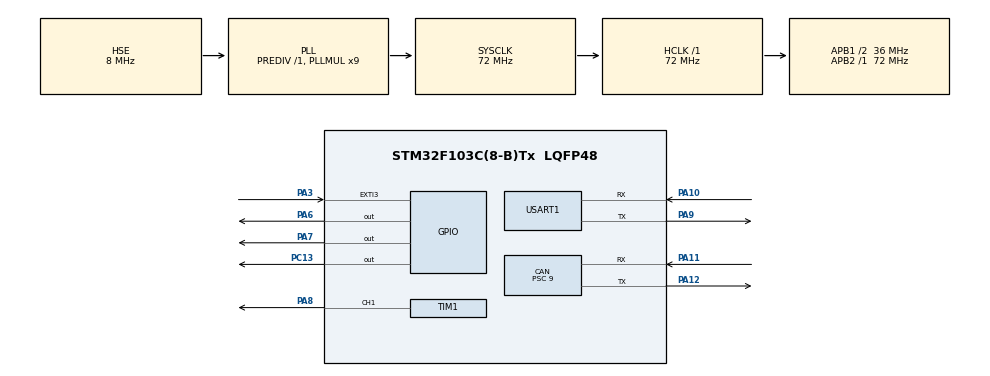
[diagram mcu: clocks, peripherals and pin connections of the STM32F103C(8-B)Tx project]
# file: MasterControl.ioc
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CAN.AWUM=DISABLE
CAN.BS1=CAN_BS1_2TQ
CAN.BS2=CAN_BS2_1TQ
CAN.CalculateBaudRate=1000000
CAN.CalculateTimeBit=1000
CAN.CalculateTimeQuantum=250.0
CAN.NART=ENABLE
CAN.Prescaler=9
Dma.Request0=TIM1_CH1
Dma.TIM1_CH1.0.Direction=DMA_MEMORY_TO_PERIPH
Dma.TIM1_CH1.0.Instance=DMA1_Channel2
Dma.TIM1_CH1.0.MemDataAlignment=DMA_MDATAALIGN_HALFWORD
Dma.TIM1_CH1.0.MemInc=DMA_MINC_ENABLE
Dma.TIM1_CH1.0.Mode=DMA_CIRCULAR
Dma.TIM1_CH1.0.PeriphDataAlignment=DMA_PDATAALIGN_HALFWORD
Dma.TIM1_CH1.0.PeriphInc=DMA_PINC_DISABLE
Dma.TIM1_CH1.0.Priority=DMA_PRIORITY_HIGH
Mcu.Family=STM32F1
Mcu.Name=STM32F103C(8-B)Tx
Mcu.Package=LQFP48
NVIC.DMA1_Channel2_IRQn=true\:0\:0\:false\:false\:true\:false\:true\:true
NVIC.EXTI3_IRQn=true\:0\:0\:false\:false\:true\:true\:true\:true
NVIC.PriorityGroup=NVIC_PRIORITYGROUP_4
NVIC.TIM4_IRQn=true\:0\:0\:false\:false\:true\:true\:true\:true
NVIC.USART1_IRQn=true\:0\:0\:false\:false\:true\:true\:true\:true
NVIC.USB_LP_CAN1_RX0_IRQn=true\:0\:0\:false\:false\:true\:true\:true\:true
PA10.Mode=Asynchronous
PA10.Signal=USART1_RX
PA11.Mode=CAN_Activate
PA11.Signal=CAN_RX
PA12.Mode=CAN_Activate
PA12.Signal=CAN_TX
PA13.Mode=Serial_Wire
PA13.Signal=SYS_JTMS-SWDIO
PA14.Mode=Serial_Wire
PA14.Signal=SYS_JTCK-SWCLK
PA3.GPIO_ModeDefaultEXTI=GPIO_MODE_IT_FALLING
PA3.GPIO_PuPd=GPIO_PULLUP
PA3.Signal=GPXTI3
PA6.Signal=GPIO_Output
PA7.Signal=GPIO_Output
PA8.Signal=S_TIM1_CH1
PA9.Mode=Asynchronous
PA9.Signal=USART1_TX
PC13-TAMPER-RTC.Signal=GPIO_Output
PD0-OSC_IN.Mode=HSE-External-Oscillator
PD0-OSC_IN.Signal=RCC_OSC_IN
PD1-OSC_OUT.Mode=HSE-External-Oscillator
PD1-OSC_OUT.Signal=RCC_OSC_OUT
ProjectManager.HeapSize=0x200
ProjectManager.StackSize=0x400
ProjectManager.TargetToolchain=STM32CubeIDE
RCC.AHBFreq_Value=72000000
RCC.APB1CLKDivider=RCC_HCLK_DIV2
RCC.APB1Freq_Value=36000000
RCC.APB1TimFreq_Value=72000000
RCC.APB2Freq_Value=72000000
RCC.APB2TimFreq_Value=72000000
RCC.HCLKFreq_Value=72000000
RCC.PLLMUL=RCC_PLL_MUL9
RCC.PLLSourceVirtual=RCC_PLLSOURCE_HSE
RCC.SYSCLKFreq_VALUE=72000000
RCC.SYSCLKSource=RCC_SYSCLKSOURCE_PLLCLK
RCC.USBFreq_Value=72000000
SH.S_TIM1_CH1.0=TIM1_CH1,PWM Generation1 CH1
TIM1.Channel-PWM\ Generation1\ CH1=TIM_CHANNEL_1
TIM1.Period=29
TIM1.Prescaler=2
TIM3.AutoReloadPreload=TIM_AUTORELOAD_PRELOAD_ENABLE
TIM3.Prescaler=3
TIM4.Period=10000-1
TIM4.Prescaler=72-1
USART1.VirtualMode=VM_ASYNC
VP_TIM1_VS_ClockSourceINT.Mode=Internal
VP_TIM3_VS_ClockSourceINT.Mode=Internal
VP_TIM4_VS_ClockSourceINT.Mode=Internal
board=custom

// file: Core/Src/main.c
/* USER CODE BEGIN Header */
/**
  ******************************************************************************
  * @file           : main.c
  * @brief          : Main program body
  ******************************************************************************
  * @attention
  *
  * Copyright (c) 2024 STMicroelectronics.
  * All rights reserved.
  *
  * This software is licensed under terms that can be found in the LICENSE file
  * in the root directory of this software component.
  * If no LICENSE file comes with this software, it is provided AS-IS.
  *
  ******************************************************************************
  */
/* USER CODE END Header */
#include "main.h"
#include "can.h"
#include "dma.h"
#include "tim.h"
#include "usart.h"
#include "gpio.h"

/* USER CODE BEGIN Includes */

#include "stdio.h"
#include "ws2812b_hal.h"
#include "infrared.h"
#include "deliver.h"
#include "light.h"
#include "rand_creator.h"

/* USER CODE END Includes */

/* USER CODE BEGIN PD */
#define NUM_LEDS 64

/* USER CODE END PD */

/* USER CODE BEGIN PV */

/*RGB_t leds[NUM_LEDS];

static RGB_t R_color = {255, 0, 0};*/

extern UART_HandleTypeDef huart1;
/* USER CODE END PV */

void SystemClock_Config(void);

int main(void)
{

  /* MCU Configuration--------------------------------------------------------*/

  /* Reset of all peripherals, Initializes the Flash interface and the Systick. */
  HAL_Init();

  /* Configure the system clock */
  SystemClock_Config();

  /* Initialize all configured peripherals */
  MX_GPIO_Init();
  MX_DMA_Init();
  MX_TIM1_Init();
  MX_TIM4_Init();
  MX_CAN_Init();
  MX_USART1_UART_Init();
  MX_TIM3_Init();
  /* USER CODE BEGIN 2 */
  HAL_TIM_Base_Start_IT(&htim4);
  HAL_TIM_Base_Start(&htim3);

  LED_Init();  // 初始化LED系统，设置timeout触发第一次扇叶选择
  HAL_Delay(10);  // 等待初始化完成，确保中断CAN数据在就绪前不被误处理
  can_filter_init();
  /*Can_TX_Init();*/
  /* USER CODE END 2 */

  /* Infinite loop */
  while (1)
  {

    /* USER CODE BEGIN 3 */

    /*while (!ws2812b_IsReady()); // wait
      for (uint16_t i = 0;i<64 ;i++)
      {
          leds[i] = R_color;
      }
      //
      // Fill leds buffer
      //
      ws2812b_M1H1_SendRGB(leds, NUM_LEDS);*/

      /*CAN_cmd_chassis_reset_ID();
      HAL_Delay(50);*/

      LED_Padding2Update();
      HAL_Delay(50);
  }
  /* USER CODE END 3 */
}

void SystemClock_Config(void)
{
  RCC_OscInitTypeDef RCC_OscInitStruct = {0};
  RCC_ClkInitTypeDef RCC_ClkInitStruct = {0};

  /** Initializes the RCC Oscillators according to the specified parameters
  * in the RCC_OscInitTypeDef structure.
  */
  RCC_OscInitStruct.OscillatorType = RCC_OSCILLATORTYPE_HSE;
  RCC_OscInitStruct.HSEState = RCC_HSE_ON;
  RCC_OscInitStruct.HSEPredivValue = RCC_HSE_PREDIV_DIV1;
  RCC_OscInitStruct.HSIState = RCC_HSI_ON;
  RCC_OscInitStruct.PLL.PLLState = RCC_PLL_ON;
  RCC_OscInitStruct.PLL.PLLSource = RCC_PLLSOURCE_HSE;
  RCC_OscInitStruct.PLL.PLLMUL = RCC_PLL_MUL9;
  if (HAL_RCC_OscConfig(&RCC_OscInitStruct) != HAL_OK)
  {
    Error_Handler();
  }

  /** Initializes the CPU, AHB and APB buses clocks
  */
  RCC_ClkInitStruct.ClockType = RCC_CLOCKTYPE_HCLK|RCC_CLOCKTYPE_SYSCLK
                              |RCC_CLOCKTYPE_PCLK1|RCC_CLOCKTYPE_PCLK2;
  RCC_ClkInitStruct.SYSCLKSource = RCC_SYSCLKSOURCE_PLLCLK;
  RCC_ClkInitStruct.AHBCLKDivider = RCC_SYSCLK_DIV1;
  RCC_ClkInitStruct.APB1CLKDivider = RCC_HCLK_DIV2;
  RCC_ClkInitStruct.APB2CLKDivider = RCC_HCLK_DIV1;

  if (HAL_RCC_ClockConfig(&RCC_ClkInitStruct, FLASH_LATENCY_2) != HAL_OK)
  {
    Error_Handler();
  }
}

void Error_Handler(void)
{
  __disable_irq();
  while (1)
  {
  }
}
